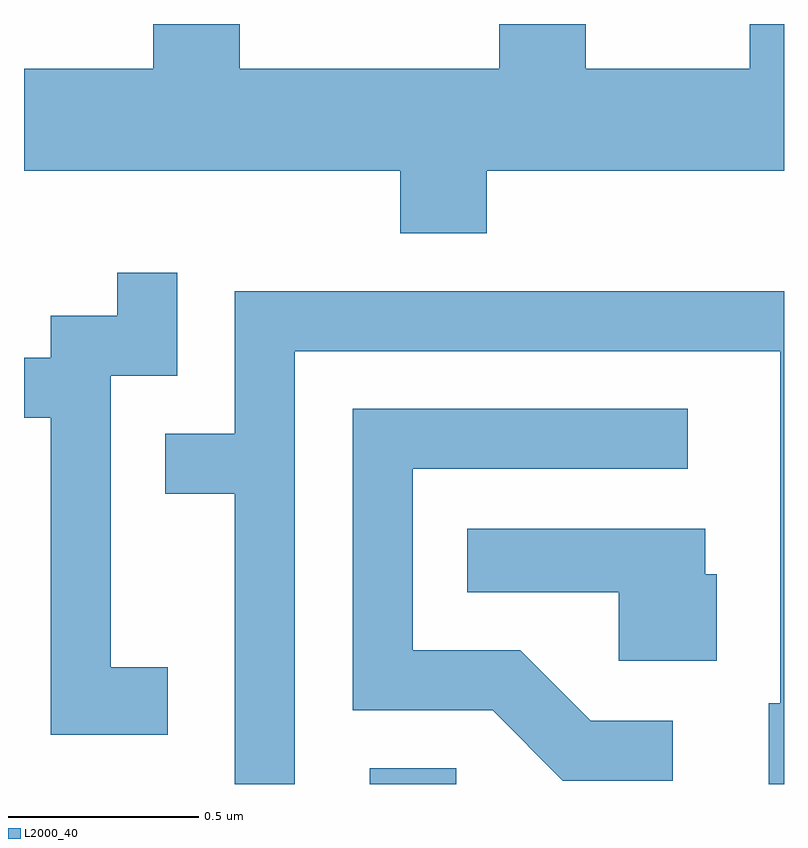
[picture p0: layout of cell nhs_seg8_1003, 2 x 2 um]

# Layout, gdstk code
import gdstk
lib = gdstk.Library(unit=1e-6, precision=1e-09)
def R(c, l, rs):  # rectangles x0, y0, x1, y1
    for r in rs: c.add(gdstk.rectangle(r[:2], r[2:], *l))
def P(c, l, *ps):  # polygons
    for p in ps: c.add(gdstk.Polygon(p, *l))
L2000_40 = (2000, 40)

nhs_seg8_1003 = lib.new_cell('nhs_seg8_1003')
R(nhs_seg8_1003, L2000_40, [(193.521,1850.342,193.749,1850.384)])
P(nhs_seg8_1003, L2000_40, [(193.829,1851.956),(194.611,1851.956),(194.611,1852.342),(194.521,1852.342),(194.521,1852.224),(194.089,1852.224),(194.089,1852.342),(193.861,1852.342),(193.861,1852.224),(193.179,1852.224),(193.179,1852.342),(192.951,1852.342),(192.951,1852.224),(192.611,1852.224),(192.611,1851.956),(193.601,1851.956),(193.601,1851.791),(193.829,1851.791)],
  [(192.989,1850.649),(192.839,1850.649),(192.839,1851.416),(193.014,1851.416),(193.014,1851.688),(192.856,1851.688),(192.856,1851.574),(192.681,1851.574),(192.681,1851.464),(192.611,1851.464),(192.611,1851.306),(192.681,1851.306),(192.681,1850.471),(192.989,1850.471)],
  [(193.324,1851.481),(194.601,1851.481),(194.601,1850.554),(194.571,1850.554),(194.571,1850.342),(194.611,1850.342),(194.611,1851.639),(193.166,1851.639),(193.166,1851.264),(192.983,1851.264),(192.983,1851.106),(193.166,1851.106),(193.166,1850.342),(193.324,1850.342)],
  [(194.318,1850.509),(194.102,1850.509),(193.917,1850.694),(193.634,1850.694),(193.634,1851.171),(194.358,1851.171),(194.358,1851.329),(193.476,1851.329),(193.476,1850.536),(193.844,1850.536),(194.029,1850.351),(194.318,1850.351)],
  [(194.434,1850.894),(194.404,1850.894),(194.404,1851.014),(193.778,1851.014),(193.778,1850.846),(194.176,1850.846),(194.176,1850.666),(194.434,1850.666)])

lib.write_gds('nhs_seg8_1003.gds')
